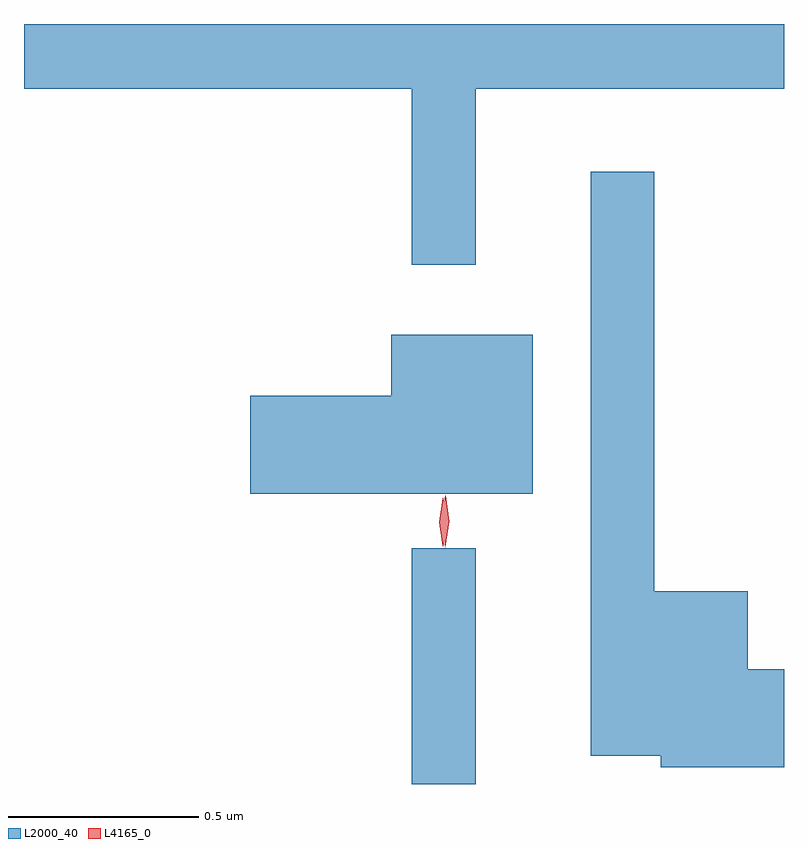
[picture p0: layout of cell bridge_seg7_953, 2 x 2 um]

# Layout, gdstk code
import gdstk
lib = gdstk.Library(unit=1e-6, precision=1e-09)
def R(c, l, rs):  # rectangles x0, y0, x1, y1
    for r in rs: c.add(gdstk.rectangle(r[:2], r[2:], *l))
def P(c, l, *ps):  # polygons
    for p in ps: c.add(gdstk.Polygon(p, *l))
L2000_40 = (2000, 40)
L4165_0 = (4165, 0)

bridge_seg7_953 = lib.new_cell('bridge_seg7_953')
R(bridge_seg7_953, L2000_40, [(559.081,1719.147,559.249,1719.768)])
P(bridge_seg7_953, L2000_40, [(559.249,1720.976),(560.06,1720.976),(560.06,1721.147),(558.06,1721.147),(558.06,1720.976),(559.081,1720.976),(559.081,1720.513),(559.249,1720.513)],
  [(560.06,1719.449),(559.964,1719.449),(559.964,1719.654),(559.719,1719.654),(559.719,1720.758),(559.551,1720.758),(559.551,1719.221),(559.736,1719.221),(559.736,1719.191),(560.06,1719.191)],
  [(559.399,1720.329),(559.026,1720.329),(559.026,1720.169),(558.656,1720.169),(558.656,1719.911),(559.399,1719.911)])
P(bridge_seg7_953, L4165_0, [(559.162,1719.773),(559.153,1719.836),(559.162,1719.899),(559.163,1719.9),(559.163,1719.899),(559.173,1719.836),(559.163,1719.773),(559.163,1719.773)],
  [(559.168,1719.77),(559.168,1719.77),(559.159,1719.838),(559.169,1719.905),(559.169,1719.906),(559.17,1719.905),(559.179,1719.838),(559.168,1719.77)])

lib.write_gds('bridge_seg7_953.gds')
